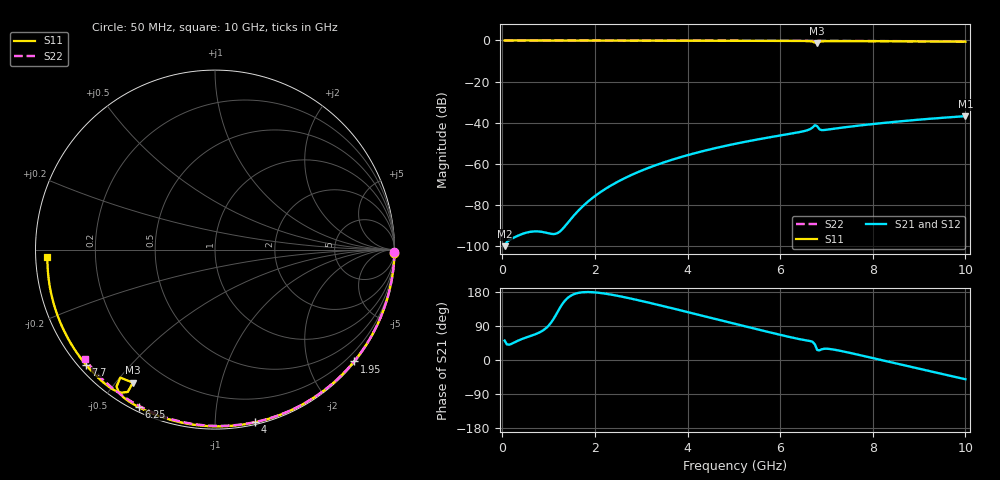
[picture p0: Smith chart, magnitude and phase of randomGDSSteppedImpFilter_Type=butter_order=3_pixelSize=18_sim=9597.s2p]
! freq	dB(S11)	phase(S11)	dB(S12)	phase(S12)
!  dB(S21)	phase(S21)	dB(S22)	phase(S22)
!S-par simulation data
#  GHz  S  DB  R 50
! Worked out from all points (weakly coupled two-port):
!   200 points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, 50 MHz to 10 GHz, reference 50 ohm
!   highest |S21| = -36.87 dB at 10 GHz (marker M1); lowest = -100.2 dB at 50 MHz (marker M2)
!   lowest |S11| = -1.2 dB at 6.8 GHz (marker M3), VSWR 14.50, Z = 4.51 - j27.7 ohm
!   |S11| at or under -10 dB: nowhere
!   |S22| runs from -0.5 to 0.0 dB; largest |S21 - S12| = 0
!   S11 on the Smith chart (normalised r, x): 50 MHz: open; 1.95 GHz: 0.03, -2.84; 4 GHz: 0.02, -1.26; 6.25 GHz: 0.02, -0.63; 7.7 GHz: 0.02, -0.38; 10 GHz: 0.03, -0.02
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0.05  -0.00 -1.0  -100.18 51.2  -100.18 51.2  -0.00 -0.8
0.85  -0.02 -17.2  -93.19 75.8  -93.19 75.8  -0.02 -13.7
1.75  -0.04 -34.9  -80.50 178.9  -80.50 178.9  -0.04 -27.9
1.95  -0.05 -38.8  -76.66 178.8  -76.66 178.8  -0.04 -31.1
2.25  -0.06 -44.6  -71.96 174.6  -71.96 174.6  -0.05 -35.7
2.6  -0.07 -51.3  -67.55 166.7  -67.55 166.7  -0.05 -41.1
3  -0.08 -58.8  -63.45 156.0  -63.45 156.0  -0.06 -47.1
3.4  -0.09 -66.1  -60.06 144.4  -60.06 144.4  -0.07 -53.1
4  -0.11 -77.0  -55.87 126.5  -55.87 126.5  -0.09 -61.9
5.05  -0.15 -95.3  -50.23 94.7  -50.23 94.7  -0.12 -76.8
6.25  -0.22 -115.7  -45.32 59.4  -45.32 59.4  -0.17 -93.0
6.55  -0.28 -121.5  -43.97 52.0  -43.97 52.0  -0.18 -96.9
6.7  -0.54 -125.7  -42.38 48.1  -42.38 48.1  -0.19 -98.9
6.75  -1.04 -126.5  -41.27 41.1  -41.27 41.1  -0.19 -99.5
6.8  -1.20 -121.7  -41.77 26.4  -41.77 26.4  -0.20 -100.2
6.85  -0.63 -121.5  -43.30 25.6  -43.30 25.6  -0.20 -100.8
6.9  -0.43 -123.1  -43.67 28.4  -43.67 28.4  -0.20 -101.5
7.15  -0.30 -128.8  -43.02 27.7  -43.02 27.7  -0.22 -104.7
7.7  -0.32 -138.3  -41.46 13.5  -41.46 13.5  -0.25 -111.6
8.35  -0.38 -149.1  -39.91 -4.8  -39.91 -4.8  -0.31 -119.7
9.2  -0.48 -163.4  -38.20 -28.6  -38.20 -28.6  -0.38 -130.2
10  -0.59 -177.4  -36.87 -50.8  -36.87 -50.8  -0.47 -140.0
